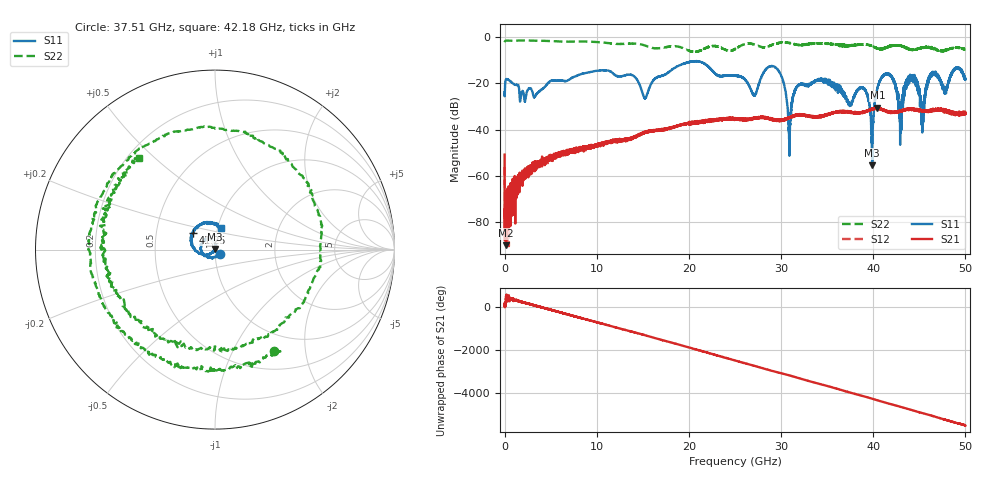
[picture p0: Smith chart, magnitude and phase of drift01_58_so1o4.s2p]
!Created with skrf (http://scikit-rf.org).
# Hz S RI R 50.0
!freq ReS11 ImS11 ReS21 ImS21 ReS12 ImS12 ReS22 ImS22
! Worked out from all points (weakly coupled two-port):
!   10001 points, 300 kHz to 50 GHz, reference 50 ohm
!   highest |S21| = -30.58 dB at 40.45 GHz (marker M1); lowest = -90.3 dB at 170.3 MHz (marker M2)
!   lowest |S11| = -55.5 dB at 39.89 GHz (marker M3), VSWR 1.00, Z = 49.8 + j0.0698 ohm
!   |S11| at or under -10 dB: start of sweep to end of sweep
!   |S22| runs from -6.4 to -1.4 dB; largest |S21 - S12| = 0.004
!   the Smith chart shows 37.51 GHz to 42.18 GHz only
!   S11 on the Smith chart (normalised r, x): 37.51 GHz: 1.05, -0.05; 41.25 GHz: 0.77, +0.15; 42.18 GHz: 1.04, +0.25
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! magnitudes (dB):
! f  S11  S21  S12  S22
! 300 kHz  -23.8  -50.9  -56.3  -2.1
! 170.3 MHz  -18.2  -90.3  -78.6  -1.4
! 8.335 GHz  -15.9  -48.2  -48.0  -1.8
! 16.67 GHz  -17.1  -40.5  -40.2  -4.8
! 25 GHz  -16.6  -35.3  -35.4  -5.1
! 27.1 GHz  -25.1  -34.9  -35.2  -3.1
! 29.44 GHz  -13.2  -36.0  -35.8  -2.7
! 30.91 GHz  -48.6  -34.8  -35.0  -2.5
! 31.68 GHz  -21.6  -33.8  -33.7  -3.2
! 33.34 GHz  -19.9  -34.4  -34.1  -2.7
! 37.51 GHz  -29.0  -32.5  -32.5  -3.7
! 38.97 GHz  -22.3  -32.2  -32.5  -3.1
! 39.89 GHz  -55.5  -31.3  -31.1  -3.8
! 40.45 GHz  -22.1  -30.6  -30.8  -4.9
! 41.25 GHz  -16.2  -31.7  -31.6  -4.7
! 41.67 GHz  -15.9  -32.4  -32.3  -4.2
! 42.18 GHz  -18.1  -32.8  -32.4  -3.6
! 42.97 GHz  -33.6  -32.3  -31.9  -3.6
! 44.07 GHz  -18.9  -31.2  -31.0  -5.4
! 45.33 GHz  -41.3  -32.1  -31.9  -4.5
! 46.38 GHz  -15.6  -31.9  -31.9  -4.7
! 50 GHz  -17.9  -33.2  -33.1  -5.3
